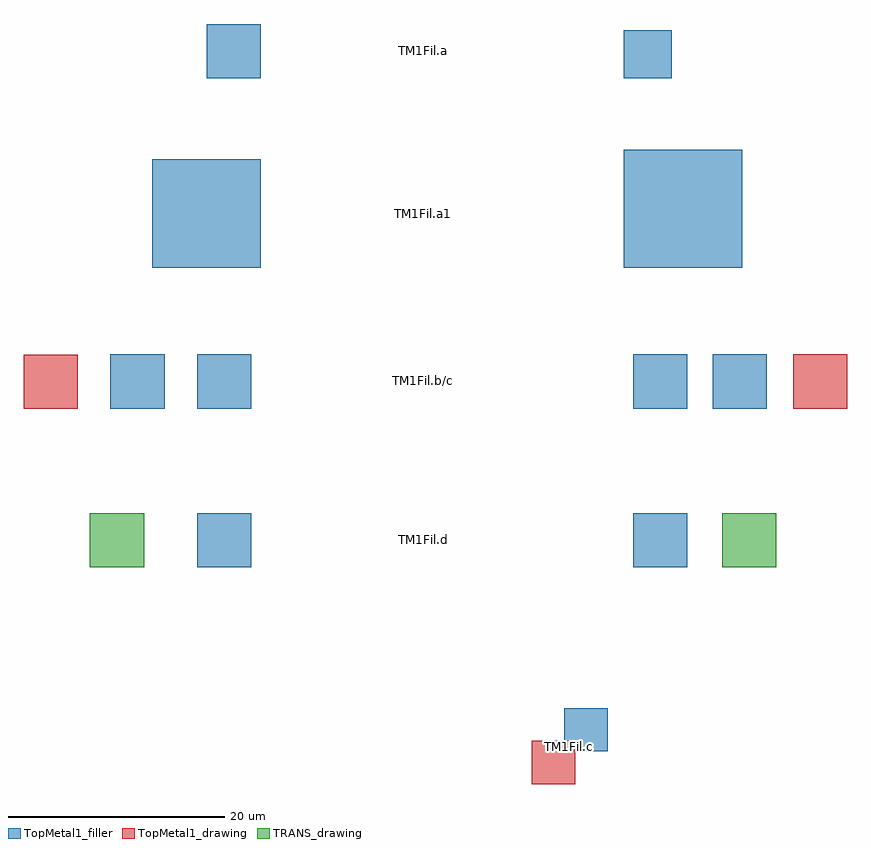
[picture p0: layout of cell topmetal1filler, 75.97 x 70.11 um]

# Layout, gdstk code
import gdstk
lib = gdstk.Library(unit=1e-6, precision=1e-09)
def R(c, l, rs):  # rectangles x0, y0, x1, y1
    for r in rs: c.add(gdstk.rectangle(r[:2], r[2:], *l))
TRANS_drawing = (26, 0)
TopMetal1_drawing = (126, 0)
TopMetal1_filler = (126, 22)

topmetal1filler = lib.new_cell('topmetal1filler')
R(topmetal1filler, TRANS_drawing, [(-30.77,-55.065,-25.77,-50.065), (27.56,-55.065,32.56,-50.065)])
R(topmetal1filler, TopMetal1_drawing, [(10,-75.065,14,-71.065), (-36.87,-40.445,-31.87,-35.445), (34.1,-40.44,39.1,-35.44)])
R(topmetal1filler, TopMetal1_filler, [(13,-72.065,17,-68.065), (-20.87,-55.065,-15.87,-50.065), (19.34,-55.065,24.34,-50.065), (-28.87,-40.44,-23.87,-35.44), (-20.87,-40.44,-15.87,-35.44), (19.34,-40.44,24.34,-35.44), (26.685,-40.44,31.685,-35.44), (-25.01,-27.445,-15.01,-17.445), (18.48,-27.445,29.395,-16.53), (-20.01,-9.95,-15.01,-4.95), (18.48,-9.95,22.89,-5.54)])
topmetal1filler.add(gdstk.Label('TM1Fil.a', (0,-7.36), layer=63, texttype=0))
topmetal1filler.add(gdstk.Label('TM1Fil.a1', (0,-22.42), layer=63, texttype=0))
topmetal1filler.add(gdstk.Label('TM1Fil.b/c', (0,-37.85), layer=63, texttype=0))
topmetal1filler.add(gdstk.Label('TM1Fil.d', (0,-52.475), layer=63, texttype=0))
topmetal1filler.add(gdstk.Label('PASS', (-12,5), layer=63, texttype=0))
topmetal1filler.add(gdstk.Label('FAIL', (12,5), layer=63, texttype=0))
topmetal1filler.add(gdstk.Label('5.23 TopMetal1:filler', (0,21), layer=63, texttype=0))
topmetal1filler.add(gdstk.Label('TM1Fil.c', (13.5,-71.565), layer=63, texttype=0))

lib.write_gds('topmetal1filler.gds')
